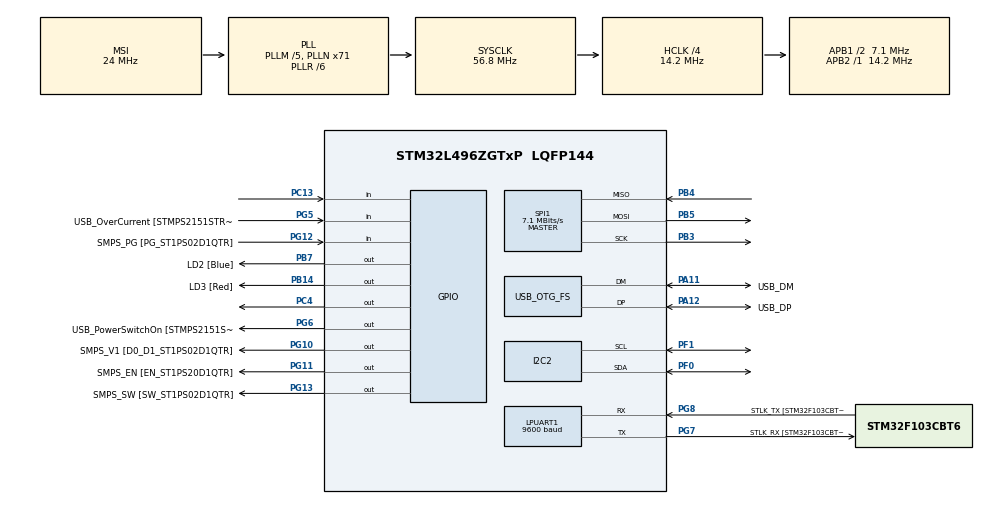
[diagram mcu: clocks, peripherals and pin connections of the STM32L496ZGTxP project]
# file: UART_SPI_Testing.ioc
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I2C2.Timing=0x00101A26
LPUART1.BaudRate=9600
Mcu.Family=STM32L4
Mcu.Name=STM32L496ZGTxP
Mcu.Package=LQFP144
NVIC.OTG_FS_IRQn=true\:0\:0\:false\:false\:true\:true\:true\:true
NVIC.PriorityGroup=NVIC_PRIORITYGROUP_4
PA10.GPIO_Label=USB_ID
PA10.Signal=USB_OTG_FS_ID
PA11.GPIO_Label=USB_DM
PA11.Mode=Host_Only
PA11.Signal=USB_OTG_FS_DM
PA12.GPIO_Label=USB_DP
PA12.Mode=Host_Only
PA12.Signal=USB_OTG_FS_DP
PA13\ (JTMS/SWDIO).GPIO_Label=TMS
PA13\ (JTMS/SWDIO).Signal=SYS_JTMS-SWDIO
PA14\ (JTCK/SWCLK).GPIO_Label=TCK
PA14\ (JTCK/SWCLK).Signal=SYS_JTCK-SWCLK
PA8.GPIO_Label=USB_SOF [TP1]
PA8.Signal=USB_OTG_FS_SOF
PA9.GPIO_Label=USB_VBUS
PA9.Signal=USB_OTG_FS_VBUS
PB14.GPIO_Label=LD3 [Red]
PB14.Signal=GPIO_Output
PB3\ (JTDO/TRACESWO).Mode=Full_Duplex_Master
PB3\ (JTDO/TRACESWO).Signal=SPI1_SCK
PB4\ (NJTRST).Mode=Full_Duplex_Master
PB4\ (NJTRST).Signal=SPI1_MISO
PB5.Mode=Full_Duplex_Master
PB5.Signal=SPI1_MOSI
PB7.GPIO_Label=LD2 [Blue]
PB7.Signal=GPIO_Output
PC13.Signal=GPIO_Input
PC14-OSC32_IN\ (PC14).Mode=LSE-External-Oscillator
PC14-OSC32_IN\ (PC14).Signal=RCC_OSC32_IN
PC15-OSC32_OUT\ (PC15).Mode=LSE-External-Oscillator
PC15-OSC32_OUT\ (PC15).Signal=RCC_OSC32_OUT
PC4.Signal=GPIO_Output
PF0.Mode=I2C
PF0.Signal=I2C2_SDA
PF1.Mode=I2C
PF1.Signal=I2C2_SCL
PG10.GPIO_Label=SMPS_V1 [D0_D1_ST1PS02D1QTR]
PG10.Signal=GPIO_Output
PG11.GPIO_Label=SMPS_EN [EN_ST1PS20D1QTR]
PG11.Signal=GPIO_Output
PG12.GPIO_Label=SMPS_PG [PG_ST1PS02D1QTR]
PG12.Signal=GPIO_Input
PG13.GPIO_Label=SMPS_SW [SW_ST1PS02D1QTR]
PG13.Signal=GPIO_Output
PG5.GPIO_Label=USB_OverCurrent [STMPS2151STR_FAULT]
PG5.Signal=GPIO_Input
PG6.GPIO_Label=USB_PowerSwitchOn [STMPS2151STR_EN]
PG6.Signal=GPIO_Output
PG7.GPIO_Label=STLK_RX [STM32F103CBT6_PA3]
PG7.Mode=Asynchronous
PG7.Signal=LPUART1_TX
PG8.GPIO_Label=STLK_TX [STM32F103CBT6_PA2]
PG8.Mode=Asynchronous
PG8.Signal=LPUART1_RX
PH0-OSC_IN\ (PH0).GPIO_Label=MCO
PH0-OSC_IN\ (PH0).Signal=RCC_OSC_IN
PH1-OSC_OUT\ (PH1).Signal=RCC_OSC_OUT
ProjectManager.HeapSize=0x200
ProjectManager.StackSize=0x400
ProjectManager.TargetToolchain=STM32CubeIDE
RCC.48MHZClocksFreq_Value=24000000
RCC.ADCFreq_Value=48000000
RCC.AHBCLKDivider=RCC_SYSCLK_DIV4
RCC.AHBFreq_Value=14200000
RCC.APB1CLKDivider=RCC_HCLK_DIV2
RCC.APB1Freq_Value=7100000
RCC.APB1TimFreq_Value=14200000
RCC.APB2Freq_Value=14200000
RCC.APB2TimFreq_Value=14200000
RCC.CortexFreq_Value=14200000
RCC.HCLKFreq_Value=14200000
RCC.HSE_VALUE=8000000
RCC.HSI48_VALUE=48000000
RCC.HSI_VALUE=16000000
RCC.MSIClockRange=RCC_MSIRANGE_9
RCC.MSI_VALUE=24000000
RCC.PLLM=5
RCC.PLLMUL=RCC_PLL_MUL9
RCC.PLLN=71
RCC.PLLR=RCC_PLLR_DIV6
RCC.PLLSAI1N=20
RCC.PRESCALERUSB=RCC_USBCLKSOURCE_PLL_DIV1_5
RCC.SYSCLKFreq_VALUE=56800000
RCC.SYSCLKSource=RCC_SYSCLKSOURCE_PLLCLK
RCC.SYSCLKSourceVirtual=RCC_SYSCLKSOURCE_PLLCLK
RCC.USBFreq_Value=48000000
RCC.VCOOutputFreq_Value=340800000
SPI1.CalculateBaudRate=7.1 MBits/s
SPI1.Direction=SPI_DIRECTION_2LINES
SPI1.Mode=SPI_MODE_MASTER
SPI1.NSSPMode=SPI_NSS_PULSE_DISABLE
SPI1.VirtualType=VM_MASTER
USB_HOST.BSP.number=1
USB_HOST.USBH_HandleTypeDef=hUsbHostFS
USB_HOST.VirtualModeFS=Audio
USB_HOST0.BSP.STBoard=false
USB_HOST0.BSP.api=UnknownBspDriver
USB_HOST0.BSP.instance=PG6
USB_HOST0.BSP.ip=GPIO
USB_HOST0.BSP.mode=Output
USB_HOST0.BSP.name=Drive_VBUS_FS
USB_HOST0.BSP.solution=PG6
USB_OTG_FS.VirtualMode=Host_Only
USB_OTG_FS.phy_itface=HCD_PHY_EMBEDDED
VP_USB_HOST_VS_USB_HOST_AUDIO_FS.Mode=AUDIO_FS
board=NUCLEO-L496ZG-P

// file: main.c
/* USER CODE BEGIN Header */
/**
  ******************************************************************************
  * @file           : main.c
  * @brief          : Main program body
  ******************************************************************************
  * @attention
  *
  * Copyright (c) 2022 STMicroelectronics.
  * All rights reserved.
  *
  * This software is licensed under terms that can be found in the LICENSE file
  * in the root directory of this software component.
  * If no LICENSE file comes with this software, it is provided AS-IS.
  *
  ******************************************************************************
  */
/* USER CODE END Header */
#include "main.h"
#include "usb_host.h"
#include<string.h>
#include<stdio.h>
/* USER CODE BEGIN Includes */
static const uint8_t SLAVE_ADDR = 0x48 << 1; //TMP102_ADDR, Normally address is 7 bit we shift them by 1 to make it 8 bit address
static const uint8_t SLAVE_REG  = 0x01;      // REG_TEMP

/* USER CODE END Includes */

I2C_HandleTypeDef hi2c2;

UART_HandleTypeDef hlpuart1;

SPI_HandleTypeDef hspi1;

void SystemClock_Config(void);
static void MX_GPIO_Init(void);
static void MX_LPUART1_UART_Init(void);
static void MX_I2C2_Init(void);
static void MX_SPI1_Init(void);
void MX_USB_HOST_Process(void);

int main(void)
{
  /* USER CODE BEGIN 1 */
	char spi_buf[10];  //SPI  buffer to send and receive data

	uint8_t R1 = {0x01}; //Address of R1
	uint8_t R2 = {0x02}; //Address of R2

	HAL_StatusTypeDef ret; // to store return value of communication function
	uint8_t buf[20];
	uint8_t buf2[10]= "Ronak\r\n";
	int16_t val;   // to store temporary raw data from temperature sensor or Slave
	float temp_c; //to send the temperature data in decimal value

  /* USER CODE END 1 */

  /* MCU Configuration--------------------------------------------------------*/

  /* Reset of all peripherals, Initializes the Flash interface and the Systick. */
  HAL_Init();

  /* Configure the system clock */
  SystemClock_Config();

  /* Initialize all configured peripherals */
  MX_GPIO_Init();
  MX_LPUART1_UART_Init();
  MX_USB_HOST_Init();
  MX_I2C2_Init();
  MX_SPI1_Init();

  /* Infinite loop */
  while (1)
  {
    MX_USB_HOST_Process();

    /* USER CODE BEGIN 3 */

    while(! HAL_GPIO_ReadPin(GPIOC, GPIO_PIN_13));

    HAL_GPIO_WritePin(GPIOB, GPIO_PIN_7, GPIO_PIN_SET);

    // 1. CS pin should default high
      HAL_GPIO_WritePin(GPIOC, GPIO_PIN_4, GPIO_PIN_SET);

      //2. Enable write enable latch (Allow write operations)
      HAL_GPIO_WritePin(GPIOC, GPIO_PIN_4, GPIO_PIN_RESET); // make CS line low
      HAL_SPI_Transmit(&hspi1, &R1 , 1, 100); // here we want to send only 1 byte so it is 1 here in 3rd parameter
      HAL_GPIO_WritePin(GPIOC, GPIO_PIN_4, GPIO_PIN_SET); // make CS line high

      HAL_Delay(200);

      //3. Read status Register
      HAL_GPIO_WritePin(GPIOC, GPIO_PIN_4, GPIO_PIN_RESET); // make CS line low
      HAL_SPI_Transmit(&hspi1, &R2 , 1, 100);
      HAL_SPI_Receive(&hspi1, (uint8_t *)spi_buf, 1, 100);
      HAL_GPIO_WritePin(GPIOC, GPIO_PIN_4, GPIO_PIN_SET); // make CS line high

      HAL_Delay(200);

      /*********************************************************************/

      //Tell Slave/Temperature sensor that we want to read from the temp.Registor or Slave register
      	  buf[0]=SLAVE_REG;
      	  ret = HAL_I2C_Master_Transmit(&hi2c2, SLAVE_ADDR, buf, 1, HAL_MAX_DELAY);
      	  if(ret != HAL_OK){
      		  strcpy((char*)buf,"Error Tx \r\n");
      	  }else{

      		  // Read 2 bytes from the temperature register or Slave register
      		  ret = HAL_I2C_Master_Receive(&hi2c2, SLAVE_ADDR, buf, 2, HAL_MAX_DELAY);
      		  if(ret != HAL_OK){
      				  strcpy((char*)buf,"Error Rx \r\n");
      		  }else{

      				  //Combine the bytes
      				  val = ((uint16_t)buf[0] << 4) | (buf[1]>>4);

      				  //convert to 2's complement, since temperature can be negative
      				  if(val > 0x7ff){
      					  val |= 0xf000;
      				  }

      				  // Convert to temperature value(Celsius)
      				  temp_c = val * 0.0625;

      				  //Convert temperature to decimal format
      				  temp_c *= 100;
      				  sprintf((char*)buf,"Temp =  %u.%02u C \r\n",((unsigned int)temp_c / 100),((unsigned int)temp_c % 100));
      			  }
      	  }

      	 // strcpy((char*)buf, "Hello\r\n"); // copy the hello string to the buffer
      	 //  copy the string to buffer , our buf is of integer but strcpy needs char type so we have typecasted that

      	  HAL_UART_Transmit(&hlpuart1, buf, strlen((char*)buf), 100); // last parameter , how long you want to transmit the data

      	  HAL_UART_Transmit(&hlpuart1, buf2, strlen((char*)buf2), 100);

      	  HAL_Delay(1000); // delay , before repeat the process, 1000 milisecond = 1 sec

            //MX_USB_HOST_Process();

      HAL_GPIO_WritePin(GPIOB, GPIO_PIN_7, GPIO_PIN_RESET);

  }
  /* USER CODE END 3 */
}

void SystemClock_Config(void)
{
  RCC_OscInitTypeDef RCC_OscInitStruct = {0};
  RCC_ClkInitTypeDef RCC_ClkInitStruct = {0};

  /** Configure the main internal regulator output voltage
  */
  if (HAL_PWREx_ControlVoltageScaling(PWR_REGULATOR_VOLTAGE_SCALE1) != HAL_OK)
  {
    Error_Handler();
  }

  /** Configure LSE Drive Capability
  */
  HAL_PWR_EnableBkUpAccess();
  __HAL_RCC_LSEDRIVE_CONFIG(RCC_LSEDRIVE_LOW);

  /** Initializes the RCC Oscillators according to the specified parameters
  * in the RCC_OscInitTypeDef structure.
  */
  RCC_OscInitStruct.OscillatorType = RCC_OSCILLATORTYPE_LSE|RCC_OSCILLATORTYPE_MSI;
  RCC_OscInitStruct.LSEState = RCC_LSE_ON;
  RCC_OscInitStruct.MSIState = RCC_MSI_ON;
  RCC_OscInitStruct.MSICalibrationValue = 0;
  RCC_OscInitStruct.MSIClockRange = RCC_MSIRANGE_9;
  RCC_OscInitStruct.PLL.PLLState = RCC_PLL_ON;
  RCC_OscInitStruct.PLL.PLLSource = RCC_PLLSOURCE_MSI;
  RCC_OscInitStruct.PLL.PLLM = 5;
  RCC_OscInitStruct.PLL.PLLN = 71;
  RCC_OscInitStruct.PLL.PLLP = RCC_PLLP_DIV2;
  RCC_OscInitStruct.PLL.PLLQ = RCC_PLLQ_DIV2;
  RCC_OscInitStruct.PLL.PLLR = RCC_PLLR_DIV6;
  if (HAL_RCC_OscConfig(&RCC_OscInitStruct) != HAL_OK)
  {
    Error_Handler();
  }

  /** Initializes the CPU, AHB and APB buses clocks
  */
  RCC_ClkInitStruct.ClockType = RCC_CLOCKTYPE_HCLK|RCC_CLOCKTYPE_SYSCLK
                              |RCC_CLOCKTYPE_PCLK1|RCC_CLOCKTYPE_PCLK2;
  RCC_ClkInitStruct.SYSCLKSource = RCC_SYSCLKSOURCE_PLLCLK;
  RCC_ClkInitStruct.AHBCLKDivider = RCC_SYSCLK_DIV4;
  RCC_ClkInitStruct.APB1CLKDivider = RCC_HCLK_DIV2;
  RCC_ClkInitStruct.APB2CLKDivider = RCC_HCLK_DIV1;

  if (HAL_RCC_ClockConfig(&RCC_ClkInitStruct, FLASH_LATENCY_0) != HAL_OK)
  {
    Error_Handler();
  }

  /** Enable MSI Auto calibration
  */
  HAL_RCCEx_EnableMSIPLLMode();
}

static void MX_I2C2_Init(void)
{

  hi2c2.Instance = I2C2;
  hi2c2.Init.Timing = 0x00101A26;
  hi2c2.Init.OwnAddress1 = 0;
  hi2c2.Init.AddressingMode = I2C_ADDRESSINGMODE_7BIT;
  hi2c2.Init.DualAddressMode = I2C_DUALADDRESS_DISABLE;
  hi2c2.Init.OwnAddress2 = 0;
  hi2c2.Init.OwnAddress2Masks = I2C_OA2_NOMASK;
  hi2c2.Init.GeneralCallMode = I2C_GENERALCALL_DISABLE;
  hi2c2.Init.NoStretchMode = I2C_NOSTRETCH_DISABLE;
  if (HAL_I2C_Init(&hi2c2) != HAL_OK)
  {
    Error_Handler();
  }

  /** Configure Analogue filter
  */
  if (HAL_I2CEx_ConfigAnalogFilter(&hi2c2, I2C_ANALOGFILTER_ENABLE) != HAL_OK)
  {
    Error_Handler();
  }

  /** Configure Digital filter
  */
  if (HAL_I2CEx_ConfigDigitalFilter(&hi2c2, 0) != HAL_OK)
  {
    Error_Handler();
  }

}

static void MX_LPUART1_UART_Init(void)
{

  hlpuart1.Instance = LPUART1;
  hlpuart1.Init.BaudRate = 9600;
  hlpuart1.Init.WordLength = UART_WORDLENGTH_7B;
  hlpuart1.Init.StopBits = UART_STOPBITS_1;
  hlpuart1.Init.Parity = UART_PARITY_NONE;
  hlpuart1.Init.Mode = UART_MODE_TX_RX;
  hlpuart1.Init.HwFlowCtl = UART_HWCONTROL_NONE;
  hlpuart1.Init.OneBitSampling = UART_ONE_BIT_SAMPLE_DISABLE;
  hlpuart1.AdvancedInit.AdvFeatureInit = UART_ADVFEATURE_NO_INIT;
  if (HAL_UART_Init(&hlpuart1) != HAL_OK)
  {
    Error_Handler();
  }

}

static void MX_SPI1_Init(void)
{

  /* SPI1 parameter configuration*/
  hspi1.Instance = SPI1;
  hspi1.Init.Mode = SPI_MODE_MASTER;
  hspi1.Init.Direction = SPI_DIRECTION_2LINES;
  hspi1.Init.DataSize = SPI_DATASIZE_4BIT;
  hspi1.Init.CLKPolarity = SPI_POLARITY_LOW;
  hspi1.Init.CLKPhase = SPI_PHASE_1EDGE;
  hspi1.Init.NSS = SPI_NSS_SOFT;
  hspi1.Init.BaudRatePrescaler = SPI_BAUDRATEPRESCALER_2;
  hspi1.Init.FirstBit = SPI_FIRSTBIT_MSB;
  hspi1.Init.TIMode = SPI_TIMODE_DISABLE;
  hspi1.Init.CRCCalculation = SPI_CRCCALCULATION_DISABLE;
  hspi1.Init.CRCPolynomial = 7;
  hspi1.Init.CRCLength = SPI_CRC_LENGTH_DATASIZE;
  hspi1.Init.NSSPMode = SPI_NSS_PULSE_DISABLE;
  if (HAL_SPI_Init(&hspi1) != HAL_OK)
  {
    Error_Handler();
  }

}

static void MX_GPIO_Init(void)
{
  GPIO_InitTypeDef GPIO_InitStruct = {0};

  /* GPIO Ports Clock Enable */
  __HAL_RCC_GPIOC_CLK_ENABLE();
  __HAL_RCC_GPIOF_CLK_ENABLE();
  __HAL_RCC_GPIOH_CLK_ENABLE();
  __HAL_RCC_GPIOB_CLK_ENABLE();
  __HAL_RCC_GPIOG_CLK_ENABLE();
  HAL_PWREx_EnableVddIO2();
  __HAL_RCC_GPIOA_CLK_ENABLE();

  /*Configure GPIO pin Output Level */
  HAL_GPIO_WritePin(GPIOC, GPIO_PIN_4, GPIO_PIN_RESET);

  /*Configure GPIO pin Output Level */
  HAL_GPIO_WritePin(GPIOB, LD3_Pin|LD2_Pin, GPIO_PIN_RESET);

  /*Configure GPIO pin Output Level */
  HAL_GPIO_WritePin(GPIOG, USB_PowerSwitchOn_Pin|SMPS_V1_Pin|SMPS_EN_Pin|SMPS_SW_Pin, GPIO_PIN_RESET);

  /*Configure GPIO pin : PC13 */
  GPIO_InitStruct.Pin = GPIO_PIN_13;
  GPIO_InitStruct.Mode = GPIO_MODE_INPUT;
  GPIO_InitStruct.Pull = GPIO_NOPULL;
  HAL_GPIO_Init(GPIOC, &GPIO_InitStruct);

  /*Configure GPIO pin : PC4 */
  GPIO_InitStruct.Pin = GPIO_PIN_4;
  GPIO_InitStruct.Mode = GPIO_MODE_OUTPUT_PP;
  GPIO_InitStruct.Pull = GPIO_NOPULL;
  GPIO_InitStruct.Speed = GPIO_SPEED_FREQ_LOW;
  HAL_GPIO_Init(GPIOC, &GPIO_InitStruct);

  /*Configure GPIO pins : LD3_Pin LD2_Pin */
  GPIO_InitStruct.Pin = LD3_Pin|LD2_Pin;
  GPIO_InitStruct.Mode = GPIO_MODE_OUTPUT_PP;
  GPIO_InitStruct.Pull = GPIO_NOPULL;
  GPIO_InitStruct.Speed = GPIO_SPEED_FREQ_LOW;
  HAL_GPIO_Init(GPIOB, &GPIO_InitStruct);

  /*Configure GPIO pins : USB_OverCurrent_Pin SMPS_PG_Pin */
  GPIO_InitStruct.Pin = USB_OverCurrent_Pin|SMPS_PG_Pin;
  GPIO_InitStruct.Mode = GPIO_MODE_INPUT;
  GPIO_InitStruct.Pull = GPIO_NOPULL;
  HAL_GPIO_Init(GPIOG, &GPIO_InitStruct);

  /*Configure GPIO pins : USB_PowerSwitchOn_Pin SMPS_V1_Pin SMPS_EN_Pin SMPS_SW_Pin */
  GPIO_InitStruct.Pin = USB_PowerSwitchOn_Pin|SMPS_V1_Pin|SMPS_EN_Pin|SMPS_SW_Pin;
  GPIO_InitStruct.Mode = GPIO_MODE_OUTPUT_PP;
  GPIO_InitStruct.Pull = GPIO_NOPULL;
  GPIO_InitStruct.Speed = GPIO_SPEED_FREQ_LOW;
  HAL_GPIO_Init(GPIOG, &GPIO_InitStruct);

}

void Error_Handler(void)
{
  __disable_irq();
  while (1)
  {
  }
}
